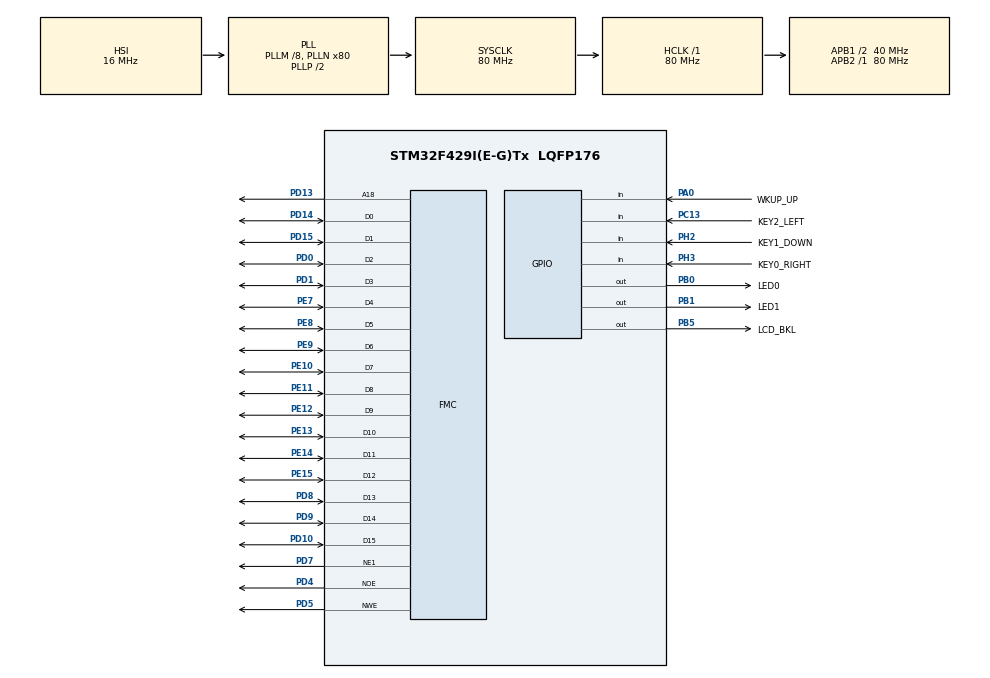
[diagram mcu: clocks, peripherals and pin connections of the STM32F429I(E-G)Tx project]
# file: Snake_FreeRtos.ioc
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FMC.BusTurnAroundDuration1=1
FMC.DataSetupTime1=70
FMC.ExtendedBusTurnAroundDuration1=1
FMC.ExtendedDataSetupTime1=15
FMC.ExtendedMode1=FMC_EXTENDED_MODE_ENABLE
FMC.WriteOperation1=FMC_WRITE_OPERATION_ENABLE
FREERTOS.Queues01=Queue_Keys,16,uint8_t,0,Dynamic,NULL,NULL;Queue_key2,16,uint8_t,0,Dynamic,NULL,NULL
FREERTOS.Tasks01=LCD_SHOW,32,1024,APP_LCD_SHOW,Default,NULL,Dynamic,NULL,NULL;KEY_SCAN,40,256,APP_KEY_SCAN,Default,NULL,Dynamic,NULL,NULL;Rule_Judgment,33,512,APP_Rule_judgment,Default,NULL,Dynamic,NULL,NULL;GAMEOVERTASK,31,256,APP_Game_Over,Default,NULL,Dynamic,NULL,NULL;Game_Start,39,512,APP_Game_Start,Default,NULL,Dynamic,NULL,NULL;SETTTING,38,256,APP_Setting,Default,NULL,Dynamic,NULL,NULL;LED_BLINK,8,128,APP_blink,Default,NULL,Dynamic,NULL,NULL;SHOW_RECORD,38,256,StartTask08,Default,NULL,Dynamic,NULL,NULL;SHOW_AUTHOR,30,256,APP_author,Default,NULL,Dynamic,NULL,NULL
Mcu.Family=STM32F4
Mcu.Name=STM32F429I(E-G)Tx
Mcu.Package=LQFP176
NVIC.PriorityGroup=NVIC_PRIORITYGROUP_4
NVIC.TIM6_DAC_IRQn=true\:0\:0\:false\:false\:true\:false\:false\:true
NVIC.TimeBase=TIM6_DAC_IRQn
NVIC.TimeBaseIP=TIM6
PA0/WKUP.GPIO_Label=WKUP_UP
PA0/WKUP.GPIO_PuPd=GPIO_PULLDOWN
PA0/WKUP.Signal=GPIO_Input
PA13.Mode=Serial_Wire
PA13.Signal=SYS_JTMS-SWDIO
PA14.Mode=Serial_Wire
PA14.Signal=SYS_JTCK-SWCLK
PB0.GPIO_Label=LED0
PB0.Signal=GPIO_Output
PB1.GPIO_Label=LED1
PB1.Signal=GPIO_Output
PB5.GPIO_Label=LCD_BKL
PB5.GPIO_PuPd=GPIO_PULLUP
PB5.GPIO_Speed=GPIO_SPEED_FREQ_HIGH
PB5.PinState=GPIO_PIN_SET
PB5.Signal=GPIO_Output
PC13.GPIO_Label=KEY2_LEFT
PC13.GPIO_PuPd=GPIO_PULLUP
PC13.Signal=GPIO_Input
PD0.Signal=FMC_D2_DA2
PD1.Signal=FMC_D3_DA3
PD10.Signal=FMC_D15_DA15
PD13.Signal=FMC_A18
PD14.Signal=FMC_D0_DA0
PD15.Signal=FMC_D1_DA1
PD4.Signal=FMC_NOE
PD5.Signal=FMC_NWE
PD7.Mode=NorPsramChipSelect1_1
PD7.Signal=FMC_NE1
PD8.Signal=FMC_D13_DA13
PD9.Signal=FMC_D14_DA14
PE10.Signal=FMC_D7_DA7
PE11.Signal=FMC_D8_DA8
PE12.Signal=FMC_D9_DA9
PE13.Signal=FMC_D10_DA10
PE14.Signal=FMC_D11_DA11
PE15.Signal=FMC_D12_DA12
PE7.Signal=FMC_D4_DA4
PE8.Signal=FMC_D5_DA5
PE9.Signal=FMC_D6_DA6
PH10.Signal=S_TIM5_CH1
PH2.GPIO_Label=KEY1_DOWN
PH2.GPIO_PuPd=GPIO_PULLUP
PH2.Signal=GPIO_Input
PH3.GPIO_Label=KEY0_RIGHT
PH3.GPIO_PuPd=GPIO_PULLUP
PH3.Signal=GPIO_Input
ProjectManager.HeapSize=0x200
ProjectManager.StackSize=0x400
ProjectManager.TargetToolchain=TrueSTUDIO
RCC.48MHZClocksFreq_Value=40000000
RCC.AHBFreq_Value=80000000
RCC.APB1CLKDivider=RCC_HCLK_DIV2
RCC.APB1Freq_Value=40000000
RCC.APB1TimFreq_Value=80000000
RCC.APB2Freq_Value=80000000
RCC.APB2TimFreq_Value=80000000
RCC.CortexFreq_Value=80000000
RCC.FLatency=FLASH_LATENCY_2
RCC.HCLKFreq_Value=80000000
RCC.HSE_VALUE=25000000
RCC.HSI_VALUE=16000000
RCC.LSE_VALUE=32768
RCC.PLLM=8
RCC.PLLN=80
RCC.PLLSAIN=50
RCC.RCC_RTC_Clock_Source=RCC_RTCCLKSOURCE_LSI
RCC.RCC_RTC_Clock_SourceVirtual=RCC_RTCCLKSOURCE_LSE
RCC.SYSCLKFreq_VALUE=80000000
RCC.SYSCLKSource=RCC_SYSCLKSOURCE_PLLCLK
RCC.VCOOutputFreq_Value=160000000
RTC.WakeUpCounter=1
SH.FMC_A18.0=FMC_A18,A18_1
SH.FMC_D0_DA0.0=FMC_D0,16b-d1
SH.FMC_D10_DA10.0=FMC_D10,16b-d1
SH.FMC_D11_DA11.0=FMC_D11,16b-d1
SH.FMC_D12_DA12.0=FMC_D12,16b-d1
SH.FMC_D13_DA13.0=FMC_D13,16b-d1
SH.FMC_D14_DA14.0=FMC_D14,16b-d1
SH.FMC_D15_DA15.0=FMC_D15,16b-d1
SH.FMC_D1_DA1.0=FMC_D1,16b-d1
SH.FMC_D2_DA2.0=FMC_D2,16b-d1
SH.FMC_D3_DA3.0=FMC_D3,16b-d1
SH.FMC_D4_DA4.0=FMC_D4,16b-d1
SH.FMC_D5_DA5.0=FMC_D5,16b-d1
SH.FMC_D6_DA6.0=FMC_D6,16b-d1
SH.FMC_D7_DA7.0=FMC_D7,16b-d1
SH.FMC_D8_DA8.0=FMC_D8,16b-d1
SH.FMC_D9_DA9.0=FMC_D9,16b-d1
SH.FMC_NOE.0=FMC_NOE,Lcd1
SH.FMC_NWE.0=FMC_NWE,Lcd1
SH.S_TIM5_CH1.0=TIM5_CH1
VP_FREERTOS_VS_CMSIS_V2.Mode=CMSIS_V2
VP_RNG_VS_RNG.Mode=RNG_Activate
VP_RTC_VS_RTC_Activate.Mode=RTC_Enabled
VP_RTC_VS_RTC_Calendar.Mode=RTC_Calendar
VP_RTC_VS_RTC_WakeUp_intern.Mode=WakeUp
VP_SYS_VS_tim6.Mode=TIM6
board=custom

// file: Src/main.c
/* USER CODE BEGIN Header */
/**
  ******************************************************************************
  * @file           : main.c
  * @brief          : Main program body
  ******************************************************************************
  * @attention
  *
  * <h2><center>&copy; Copyright (c) 2019 STMicroelectronics.
  * All rights reserved.</center></h2>
  *
  * This software component is licensed by ST under Ultimate Liberty license
  * SLA0044, the "License"; You may not use this file except in compliance with
  * the License. You may obtain a copy of the License at:
  *                             www.st.com/SLA0044
  *
  ******************************************************************************
  */
/* USER CODE END Header */

#include "main.h"
#include "cmsis_os.h"
#include "rng.h"
#include "rtc.h"
#include "gpio.h"
#include "fmc.h"

/* USER CODE BEGIN Includes */
#include "lcd.h"
#include "snake.h"

/* USER CODE END Includes */

void SystemClock_Config(void);
void MX_FREERTOS_Init(void);

int main(void)
{

  /* MCU Configuration--------------------------------------------------------*/

  /* Reset of all peripherals, Initializes the Flash interface and the Systick. */
  HAL_Init();

  /* Configure the system clock */
  SystemClock_Config();

  /* Initialize all configured peripherals */
  MX_GPIO_Init();
  MX_FMC_Init();
  MX_RNG_Init();
  MX_RTC_Init();
  /* USER CODE BEGIN 2 */
  LCD_Init();
  //START_InterFace();
 /*lcdFRONT_COLOR=LcdColor_WHITE;
  	LCD_FS=LcdFont_Size16;
  	LCD_ShowString(0,7, (uint8_t*)"SNAKE GAME   CFH 1705010408");
  	lcdFRONT_COLOR=GRAYBLUE;
  	LCD_DrawLine(0,30,240,30);
  	//LCD_DrawRectangle(WALL_Xmin-3,WALL_Ymin-3,WALL_Xmax+4,WALL_Ymax);
  	 *
  	 */
 // HAL_RTCEx_BKUPWrite(&hrtc,RTC_BKP_DR0,0);
  /* USER CODE END 2 */

  /* Call init function for freertos objects (in freertos.c) */
  MX_FREERTOS_Init();

  /* Start scheduler */
  osKernelStart();

  /* We should never get here as control is now taken by the scheduler */

  /* Infinite loop */
  while (1)
  {

  }
}

void SystemClock_Config(void)
{
  RCC_OscInitTypeDef RCC_OscInitStruct = {0};
  RCC_ClkInitTypeDef RCC_ClkInitStruct = {0};
  RCC_PeriphCLKInitTypeDef PeriphClkInitStruct = {0};

  /** Configure the main internal regulator output voltage
  */
  __HAL_RCC_PWR_CLK_ENABLE();
  __HAL_PWR_VOLTAGESCALING_CONFIG(PWR_REGULATOR_VOLTAGE_SCALE3);
  /** Initializes the CPU, AHB and APB busses clocks
  */
  RCC_OscInitStruct.OscillatorType = RCC_OSCILLATORTYPE_HSI|RCC_OSCILLATORTYPE_LSI;
  RCC_OscInitStruct.HSIState = RCC_HSI_ON;
  RCC_OscInitStruct.HSICalibrationValue = RCC_HSICALIBRATION_DEFAULT;
  RCC_OscInitStruct.LSIState = RCC_LSI_ON;
  RCC_OscInitStruct.PLL.PLLState = RCC_PLL_ON;
  RCC_OscInitStruct.PLL.PLLSource = RCC_PLLSOURCE_HSI;
  RCC_OscInitStruct.PLL.PLLM = 8;
  RCC_OscInitStruct.PLL.PLLN = 80;
  RCC_OscInitStruct.PLL.PLLP = RCC_PLLP_DIV2;
  RCC_OscInitStruct.PLL.PLLQ = 4;
  if (HAL_RCC_OscConfig(&RCC_OscInitStruct) != HAL_OK)
  {
    Error_Handler();
  }
  /** Initializes the CPU, AHB and APB busses clocks
  */
  RCC_ClkInitStruct.ClockType = RCC_CLOCKTYPE_HCLK|RCC_CLOCKTYPE_SYSCLK
                              |RCC_CLOCKTYPE_PCLK1|RCC_CLOCKTYPE_PCLK2;
  RCC_ClkInitStruct.SYSCLKSource = RCC_SYSCLKSOURCE_PLLCLK;
  RCC_ClkInitStruct.AHBCLKDivider = RCC_SYSCLK_DIV1;
  RCC_ClkInitStruct.APB1CLKDivider = RCC_HCLK_DIV2;
  RCC_ClkInitStruct.APB2CLKDivider = RCC_HCLK_DIV1;

  if (HAL_RCC_ClockConfig(&RCC_ClkInitStruct, FLASH_LATENCY_2) != HAL_OK)
  {
    Error_Handler();
  }
  PeriphClkInitStruct.PeriphClockSelection = RCC_PERIPHCLK_RTC;
  PeriphClkInitStruct.RTCClockSelection = RCC_RTCCLKSOURCE_LSI;
  if (HAL_RCCEx_PeriphCLKConfig(&PeriphClkInitStruct) != HAL_OK)
  {
    Error_Handler();
  }
}

void HAL_TIM_PeriodElapsedCallback(TIM_HandleTypeDef *htim)
{
  if (htim->Instance == TIM6) {
    HAL_IncTick();
  }
}

void Error_Handler(void)
{
}

/************************ (C) COPYRIGHT STMicroelectronics *****END OF FILE****/

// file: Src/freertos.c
/* USER CODE BEGIN Header */
/**
  ******************************************************************************
  * File Name          : freertos.c
  * Description        : Code for freertos applications
  ******************************************************************************
  * @attention
  *
  * <h2><center>&copy; Copyright (c) 2019 STMicroelectronics.
  * All rights reserved.</center></h2>
  *
  * This software component is licensed by ST under Ultimate Liberty license
  * SLA0044, the "License"; You may not use this file except in compliance with
  * the License. You may obtain a copy of the License at:
  *                             www.st.com/SLA0044
  *
  ******************************************************************************
  */
/* USER CODE END Header */

#include "FreeRTOS.h"
#include "task.h"
#include "main.h"
#include "cmsis_os.h"

/* USER CODE BEGIN Includes */
#include "lcd.h"
#include "queue.h"
#include "snake.h"
#include "rtc.h"
/* USER CODE END Includes */

/* USER CODE BEGIN PTD */
const uint8_t KeyCodeLeft =0x01; //按键代码 KeyLeft
const uint8_t KeyCodeRight=0x02; //按键代码 KeyRight
const uint8_t KeyCodeUp =0x03; //按键代码 KeyUp
const uint8_t KeyCodeDown =0x04; //按键代码 KeyDown
uint16_t curScreenX=100; //LCD 当前 X
uint16_t curScreenY=260; //LCD 当前 Y
uint16_t lastScreenX=100; // LCD 前一步的 X
uint16_t lastScreenY=260; // LCD 前一步的 Y
uint8_t KEYSET=1;
uint32_t RECORD;

/* USER CODE END PTD */

osThreadId_t LCD_SHOWHandle;
osThreadId_t KEY_SCANHandle;
osThreadId_t Rule_JudgmentHandle;
osThreadId_t GAMEOVERTASKHandle;
osThreadId_t Game_StartHandle;
osThreadId_t SETTTINGHandle;
osThreadId_t LED_BLINKHandle;
osThreadId_t SHOW_RECORDHandle;
osThreadId_t SHOW_AUTHORHandle;
osMessageQueueId_t Queue_KeysHandle;
osMessageQueueId_t Queue_key2Handle;

void APP_LCD_SHOW(void *argument);
void APP_KEY_SCAN(void *argument);
void APP_Rule_judgment(void *argument);
void APP_Game_Over(void *argument);
void APP_Game_Start(void *argument);
void APP_Setting(void *argument);
void APP_blink(void *argument);
void StartTask08(void *argument);
void APP_author(void *argument);

void MX_FREERTOS_Init(void); /* (MISRA C 2004 rule 8.1) */

void MX_FREERTOS_Init(void) {
osKernelInitialize();

  /* Create the queue(s) */
  /* definition and creation of Queue_Keys */
  const osMessageQueueAttr_t Queue_Keys_attributes = {
    .name = "Queue_Keys"
  };
  Queue_KeysHandle = osMessageQueueNew (16, sizeof(uint8_t), &Queue_Keys_attributes);

  /* definition and creation of Queue_key2 */
  const osMessageQueueAttr_t Queue_key2_attributes = {
    .name = "Queue_key2"
  };
  Queue_key2Handle = osMessageQueueNew (16, sizeof(uint8_t), &Queue_key2_attributes);

  /* Create the thread(s) */
  /* definition and creation of LCD_SHOW */
  const osThreadAttr_t LCD_SHOW_attributes = {
    .name = "LCD_SHOW",
    .priority = (osPriority_t) osPriorityAboveNormal,
    .stack_size = 1024
  };
  LCD_SHOWHandle = osThreadNew(APP_LCD_SHOW, NULL, &LCD_SHOW_attributes);

  /* definition and creation of KEY_SCAN */
  const osThreadAttr_t KEY_SCAN_attributes = {
    .name = "KEY_SCAN",
    .priority = (osPriority_t) osPriorityHigh,
    .stack_size = 256
  };
  KEY_SCANHandle = osThreadNew(APP_KEY_SCAN, NULL, &KEY_SCAN_attributes);

  /* definition and creation of Rule_Judgment */
  const osThreadAttr_t Rule_Judgment_attributes = {
    .name = "Rule_Judgment",
    .priority = (osPriority_t) osPriorityAboveNormal1,
    .stack_size = 512
  };
  Rule_JudgmentHandle = osThreadNew(APP_Rule_judgment, NULL, &Rule_Judgment_attributes);

  /* definition and creation of GAMEOVERTASK */
  const osThreadAttr_t GAMEOVERTASK_attributes = {
    .name = "GAMEOVERTASK",
    .priority = (osPriority_t) osPriorityNormal7,
    .stack_size = 256
  };
  GAMEOVERTASKHandle = osThreadNew(APP_Game_Over, NULL, &GAMEOVERTASK_attributes);

  /* definition and creation of Game_Start */
  const osThreadAttr_t Game_Start_attributes = {
    .name = "Game_Start",
    .priority = (osPriority_t) osPriorityAboveNormal7,
    .stack_size = 512
  };
  Game_StartHandle = osThreadNew(APP_Game_Start, NULL, &Game_Start_attributes);

  /* definition and creation of SETTTING */
  const osThreadAttr_t SETTTING_attributes = {
    .name = "SETTTING",
    .priority = (osPriority_t) osPriorityAboveNormal6,
    .stack_size = 256
  };
  SETTTINGHandle = osThreadNew(APP_Setting, NULL, &SETTTING_attributes);

  /* definition and creation of LED_BLINK */
  const osThreadAttr_t LED_BLINK_attributes = {
    .name = "LED_BLINK",
    .priority = (osPriority_t) osPriorityLow,
    .stack_size = 128
  };
  LED_BLINKHandle = osThreadNew(APP_blink, NULL, &LED_BLINK_attributes);

  /* definition and creation of SHOW_RECORD */
  const osThreadAttr_t SHOW_RECORD_attributes = {
    .name = "SHOW_RECORD",
    .priority = (osPriority_t) osPriorityAboveNormal6,
    .stack_size = 256
  };
  SHOW_RECORDHandle = osThreadNew(StartTask08, NULL, &SHOW_RECORD_attributes);

  /* definition and creation of SHOW_AUTHOR */
  const osThreadAttr_t SHOW_AUTHOR_attributes = {
    .name = "SHOW_AUTHOR",
    .priority = (osPriority_t) osPriorityNormal6,
    .stack_size = 256
  };
  SHOW_AUTHORHandle = osThreadNew(APP_author, NULL, &SHOW_AUTHOR_attributes);

}

void APP_LCD_SHOW(void *argument)
{

  /* USER CODE BEGIN APP_LCD_SHOW */

	uint8_t keyCode;

  /* Infinite loop */
  for(;;)
	  {
	  TickType_t previousWakeTime=xTaskGetTickCount();
	   vTaskResume(Rule_JudgmentHandle);
	   vTaskSuspend(Game_StartHandle);
	   GET_FOOD();//是否吃到食物
	   Put_Food();//显示食物
	   BaseType_t result=xQueueReceive(Queue_KeysHandle, &keyCode, pdMS_TO_TICKS(1));
		switch(keyCode)
		{
		case m_up:
			if(DIR==m_down){Snake_Down();break;}
			Snake_Up();
			DIR=m_up;
			break;
		case m_down:
			if(DIR==m_up){Snake_Up();break;}
			Snake_Down();
			DIR=m_down;
			break;
		case m_left:
			if(DIR==m_right){Snake_Right();break;}
			Snake_Left();
			DIR=m_left;
			break;
		case m_right:
			if(DIR==m_left){Snake_Left();break;}
			Snake_Right();
			DIR=m_right;
			break;
		default:switch(DIR)
		{
		case(m_left):Snake_Left();break;
		case(m_right):Snake_Right();break;
		case(m_up):Snake_Up();break;
		case(m_down):Snake_Down();break;
		default:break;
		}
		}
	   vTaskDelayUntil(&previousWakeTime,pdMS_TO_TICKS(Snake.Level)); //如果延时较长，可能导致队列里有多个项
	   }
    //osDelay(1);
  /* USER CODE END APP_LCD_SHOW */
}

void APP_KEY_SCAN(void *argument)
{
  /* USER CODE BEGIN APP_KEY_SCAN */
	BaseType_t err;
	BaseType_t err1;
	GPIO_PinState keyState=GPIO_PIN_SET;
	TickType_t delayAfterPress=pdMS_TO_TICKS(200); //按键按下后的延时，用于消除按键抖动
  /* Infinite loop */
  for(;;)
  {
	  	  keyState=HAL_GPIO_ReadPin(GPIOH, GPIO_PIN_3); //PH3=KeyRight, 上拉
	  	  if (keyState==GPIO_PIN_RESET) //KeyRight 是低输入有效
	  	  {
	  	  err= xQueueSendToBack(Queue_KeysHandle, &KeyCodeRight, pdMS_TO_TICKS(100));
		err1= xQueueSendToBack(Queue_key2Handle, &KeyCodeRight, pdMS_TO_TICKS(100));
	  	  vTaskDelay(delayAfterPress); //延时，去除抖动,同时让任务调度执行
	  	  }
	  	  keyState=HAL_GPIO_ReadPin(GPIOH, GPIO_PIN_2); //PH2=KeyDown, 上拉
	  	  if (keyState==GPIO_PIN_RESET) //KeyDown 是低输入有效
	  	  {
	  	  err= xQueueSendToBack(Queue_KeysHandle, &KeyCodeDown, pdMS_TO_TICKS(100));
	  	 err1= xQueueSendToBack(Queue_key2Handle, &KeyCodeDown, pdMS_TO_TICKS(100));
	  	  vTaskDelay(delayAfterPress); //延时，去除抖动,同时让任务调度执行
	  	  }
	  	  keyState=HAL_GPIO_ReadPin(GPIOC, GPIO_PIN_13); //PE4=KeyLeft, 上拉
	  	  if (keyState==GPIO_PIN_RESET) //KeyLeft 是低输入有效
	  	  {
	  	  err= xQueueSendToBack(Queue_KeysHandle, &KeyCodeLeft, pdMS_TO_TICKS(100));
	  	 err1= xQueueSendToBack(Queue_key2Handle, &KeyCodeLeft, pdMS_TO_TICKS(100));
	  	  vTaskDelay(delayAfterPress); //延时，去除抖动,同时让任务调度执行
	  	  }
	  	  keyState=HAL_GPIO_ReadPin(GPIOA, GPIO_PIN_0); //PA0=KeyUp, 下拉
	  	  if (keyState==GPIO_PIN_SET) //KeyUp 是高输入有效
	  	  {
	  	  err= xQueueSendToBack(Queue_KeysHandle, &KeyCodeUp, pdMS_TO_TICKS(100));
	  	err1= xQueueSendToBack(Queue_key2Handle, &KeyCodeUp, pdMS_TO_TICKS(100));
	  	  vTaskDelay(delayAfterPress); //延时，去除抖动,同时让任务调度执行
	  	  }
	  	  if (err == errQUEUE_FULL) //如果队列满了，就复位队列
	  	  xQueueReset(Queue_KeysHandle);
	  	  if (err1 == errQUEUE_FULL) //如果队列满了，就复位队列
	  	  xQueueReset(Queue_key2Handle);
	  	  vTaskDelay(pdMS_TO_TICKS(10)); //进入阻塞状态'
  }
  /* USER CODE END APP_KEY_SCAN */
}

void APP_Rule_judgment(void *argument)
{
  /* USER CODE BEGIN APP_Rule_judgment */
  /* Infinite loop */
  for(;;)
  {
	  DEC_EAT_ITSELF();//是否咬到自己
	  DEC_HIT_WALL();//是否撞墙
	  if(Snake.isLife==0)
	  {
		  Snake.isSTART=0;
		  vTaskSuspend(LCD_SHOWHandle);
		  vTaskSuspend(SETTTINGHandle);
		  vTaskSuspend(Game_StartHandle);
		  xQueueReset(Queue_key2Handle);
		  vTaskResume(GAMEOVERTASKHandle);
		  vTaskSuspend(NULL);
	  }
      osDelay(Snake.Level/2);
  }
  /* USER CODE END APP_Rule_judgment */
}

void APP_Game_Over(void *argument)
{
  /* USER CODE BEGIN APP_Game_Over */
	 uint8_t key3Code;
  /* Infinite loop */
  for(;;)
  {
	  DIR=m_right;
	 Snake.isSTART=0;
	 vTaskSuspend(Rule_JudgmentHandle);
	 RECORD=HAL_RTCEx_BKUPRead(&hrtc,RTC_BKP_DR0);
	 if(Snake.Len-Snake.len_set>RECORD)
	 {
		 LCD_FS=LcdFont_Size16;
		 LCD_ShowString(80,175, (uint8_t*)"NEW RECORD!!!");
		 LCD_FS=LcdFont_Size16;
		 LCD_ShowString(100,150, (uint8_t*)"RECORD:");
		 LCD_ShowNum(150,150,RECORD,3,12);
	     HAL_RTCEx_BKUPWrite(&hrtc,RTC_BKP_DR0,Snake.Len-Snake.len_set);
	 }
	 else
	 {
		 LCD_FS=LcdFont_Size16;
		 LCD_ShowString(100,150, (uint8_t*)"RECORD:");
		 LCD_ShowNum(150,150,RECORD,3,12);
	 }
	BaseType_t result3=xQueueReceive(Queue_key2Handle, &key3Code, pdMS_TO_TICKS(100));
	OVER_InterFace();
	//HAL_Delay(500);
	if (result3 != pdTRUE)
	continue;

	else{
		 Snake.isLife=1;
		 START_InterFace();
		 xQueueReset(Queue_key2Handle);
		 xQueueReset(Queue_KeysHandle);
		 vTaskResume(Game_StartHandle);
		 vTaskSuspend(NULL);
	}

	}

    osDelay(100);

  /* USER CODE END APP_Game_Over */
}

void APP_Game_Start(void *argument)
{
  /* USER CODE BEGIN APP_Game_Start */

  uint8_t key1Code;
  Snake.isSTART=0;
  Snake.len_set=5;
  Snake.speed_set=100;
  vTaskSuspend(LCD_SHOWHandle);
  vTaskSuspend(SETTTINGHandle);
  vTaskSuspend(GAMEOVERTASKHandle);
  vTaskSuspend(Rule_JudgmentHandle);
  vTaskSuspend(SHOW_RECORDHandle);
  vTaskSuspend(SHOW_AUTHORHandle);
  /* Infinite loop */
  for(;;)
  {
	  vTaskSuspend(LCD_SHOWHandle);
	  vTaskSuspend(SETTTINGHandle);
	  vTaskSuspend(GAMEOVERTASKHandle);
	  vTaskSuspend(Rule_JudgmentHandle);
	  vTaskSuspend(SHOW_RECORDHandle);
	  vTaskSuspend(SHOW_AUTHORHandle);
	  Snake.isSTART=0;
	  START_InterFace();
	  while(Snake.isSTART==0)
	  {

	Snake.isLife=1;
	  BaseType_t result1=xQueueReceive(Queue_key2Handle, &key1Code, pdMS_TO_TICKS(100));
	   if (result1 != pdTRUE)
	   continue;
		switch(key1Code)
		{
		case m_up:
			KEYSET--;
			if(KEYSET>4){KEYSET=1;}
			if(KEYSET<1){KEYSET=4;}
			LCD_Fill(20,60,59,300,LcdColor_BLACK);//黑色
			LCD_Draw_Circle(40,80+60*(KEYSET-1),5);//指向Start
			break;
		case m_down:
			KEYSET++;
			if(KEYSET>4){KEYSET=1;}
			if(KEYSET<1){KEYSET=4;}
			LCD_Fill(20,60,59,300,LcdColor_BLACK);//黑色
			LCD_Draw_Circle(40,80+60*(KEYSET-1),5);//指向Start
			break;
		case m_left:
			switch(KEYSET)
			{
			case 1:
				Snake.isSTART=1;
				xQueueReset(Queue_key2Handle);
				Snake_Init();
				vTaskResume(LCD_SHOWHandle);
				xQueueReset(Queue_KeysHandle);
				vTaskResume(Rule_JudgmentHandle);
				break;
			case 2:
				xQueueReset(Queue_key2Handle);
				xQueueReset(Queue_KeysHandle);
				SET_InterFace();KEYSET=1;
				vTaskResume(SETTTINGHandle);
				vTaskSuspend(NULL);
				break;
			case 3:
			xQueueReset(Queue_key2Handle);
			xQueueReset(Queue_KeysHandle);
			RECORD_InterFace();KEYSET=1;
			vTaskResume(SHOW_RECORDHandle);
			vTaskSuspend(NULL);
			break;
			case 4:
				xQueueReset(Queue_key2Handle);
				xQueueReset(Queue_KeysHandle);
				AUTHOR_InterFace();
				vTaskResume(SHOW_AUTHORHandle);
				vTaskSuspend(NULL);
				break;
			}
			break;
			default:break;
	   }
		xQueueReset(Queue_KeysHandle);
	  }
	  vTaskSuspend(NULL);
      osDelay(1);
  }
  /* USER CODE END APP_Game_Start */
}

void APP_Setting(void *argument)
{
  /* USER CODE BEGIN APP_Setting */
  /* Infinite loop */
	uint8_t key2Code;
  for(;;)
  {
	  vTaskSuspend(Game_StartHandle);
		BaseType_t result2=xQueueReceive(Queue_key2Handle, &key2Code, pdMS_TO_TICKS(100));
	   if (result2 != pdTRUE)
	   continue;
		switch(key2Code)
		{
	case m_up:
	KEYSET--;
	if(KEYSET>3){KEYSET=1;}
	if(KEYSET<1){KEYSET=3;}
	LCD_Fill(201,50,250,300,LcdColor_BLACK);//黑色
	LCD_Draw_Circle(210,69+40*(KEYSET-1),5);
	break;
	case m_down:
	KEYSET++;
	if(KEYSET>3){KEYSET=1;}
	if(KEYSET<1){KEYSET=3;}
	LCD_Fill(201,50,250,300,LcdColor_BLACK);//黑色
	LCD_Draw_Circle(210,69+40*(KEYSET-1),5);
	break;
	case m_left:
		switch(KEYSET)
		{
		case 1:Snake.len_set--;
		if(Snake.len_set<2||Snake.speed_set<10)
		{
			Snake.len_set=2;
			LCD_FS=LcdFont_Size24;
			LCD_ShowString(2,200, (uint8_t*)"length_OUTRANGE");
		}
		else
		{
			LCD_Fill(2,200,300,224,LcdColor_BLACK);//l
		}
		LCD_ShowNum(155,60,Snake.len_set,2,16);
		break;
		case 2:Snake.speed_set=Snake.speed_set-10;
		if(Snake.len_set<2||Snake.speed_set<10)
		{
			Snake.speed_set=10;
			LCD_FS=LcdFont_Size24;
			LCD_ShowString(2,225, (uint8_t*)"Speed_OUTRANGE");
		}
		else
		{
		LCD_Fill(2,225,300,249,LcdColor_BLACK);//s
		}
		LCD_ShowNum(155,100,Snake.speed_set,3,16);
		break;
		case 3:
		START_InterFace();
		xQueueReset(Queue_KeysHandle);
		xQueueReset(Queue_key2Handle);
		vTaskResume(Game_StartHandle);
		vTaskSuspend(NULL);
		break;
		default:break;
		}
		break;
	case m_right:
		switch(KEYSET)
			{
			case 1:Snake.len_set++;
			if(Snake.len_set>7||Snake.speed_set>500)
			{
				Snake.len_set=7;
				LCD_FS=LcdFont_Size24;
				LCD_ShowString(2,200, (uint8_t*)"length_OUTRANGE");

			}
			else
			{
				LCD_Fill(2,200,300,224,LcdColor_BLACK);//l
			}
			LCD_ShowNum(155,60,Snake.len_set,2,16);
			break;
			case 2:
				Snake.speed_set=Snake.speed_set+10;

				if(Snake.len_set>7||Snake.speed_set>500)
				{
				Snake.speed_set=500;
				LCD_FS=LcdFont_Size24;
				LCD_ShowString(2,225, (uint8_t*)"Speed_OUTRANGE");
				}
				else
			   {
					LCD_Fill(2,225,300,249,LcdColor_BLACK);//s
				}
				LCD_ShowNum(155,100,Snake.speed_set,3,16);
				break;
			default:break;
			}
	break;
		}

    osDelay(1);
  }
  /* USER CODE END APP_Setting */
}

void APP_blink(void *argument)
{
  /* USER CODE BEGIN APP_blink */
  /* Infinite loop */
  for(;;)
  {
	  HAL_GPIO_TogglePin(GPIOB, GPIO_PIN_1); //PF10=LED2
	  HAL_GPIO_TogglePin(GPIOB, GPIO_PIN_0); //PF9=LED1n
	  osDelay(500);
  }
  /* USER CODE END APP_blink */
}

void StartTask08(void *argument)
{
  /* USER CODE BEGIN StartTask08 */
	uint8_t key2Code;
  /* Infinite loop */
  for(;;)
  {
	  vTaskSuspend(Game_StartHandle);
		BaseType_t result2=xQueueReceive(Queue_key2Handle, &key2Code, pdMS_TO_TICKS(100));
	   if (result2 != pdTRUE)
	   continue;
		switch(key2Code)
		{
		case m_up:
			KEYSET--;
			if(KEYSET>2){KEYSET=1;}
			if(KEYSET<1){KEYSET=2;}
			LCD_ShowString(2,160, (uint8_t*)"    ");
			LCD_ShowString(2,185, (uint8_t*)"    ");
			LCD_ShowString(2,160+25*(KEYSET-1), (uint8_t*)" ->");

			break;
		case m_down:
			KEYSET++;
			if(KEYSET>2){KEYSET=1;}
			if(KEYSET<1){KEYSET=2;}
			LCD_ShowString(2,160, (uint8_t*)"    ");
			LCD_ShowString(2,185, (uint8_t*)"    ");
			LCD_ShowString(2,160+25*(KEYSET-1), (uint8_t*)" ->");
			break;
		case m_left:
			switch(KEYSET)
			{
			case 1:
				START_InterFace();
				xQueueReset(Queue_KeysHandle);
				xQueueReset(Queue_key2Handle);
				vTaskResume(Game_StartHandle);
				vTaskSuspend(NULL);
				break;
			case 2:

			     HAL_RTCEx_BKUPWrite(&hrtc,RTC_BKP_DR0,0);
			     RECORD=HAL_RTCEx_BKUPRead(&hrtc,RTC_BKP_DR0);
			     LCD_ShowNum(40,100,RECORD,3,32);
				break;
			default:
			break;
			}
			default:
				break;
		}
    osDelay(1);
  }
  /* USER CODE END StartTask08 */
}

void APP_author(void *argument)
{
  /* USER CODE BEGIN APP_author */
  /* Infinite loop */
	uint8_t key3Code;
  for(;;)
  {
	  //AUTHOR_InterFace();
	  BaseType_t result3=xQueueReceive(Queue_key2Handle, &key3Code, pdMS_TO_TICKS(100));
	  if (result3 != pdTRUE)
	  	continue;

	  	else{
			START_InterFace();
			xQueueReset(Queue_KeysHandle);
			xQueueReset(Queue_key2Handle);
			vTaskResume(Game_StartHandle);
			vTaskSuspend(NULL);
	  	}

    osDelay(1);
  }
  /* USER CODE END APP_author */
}

/************************ (C) COPYRIGHT STMicroelectronics *****END OF FILE****/
